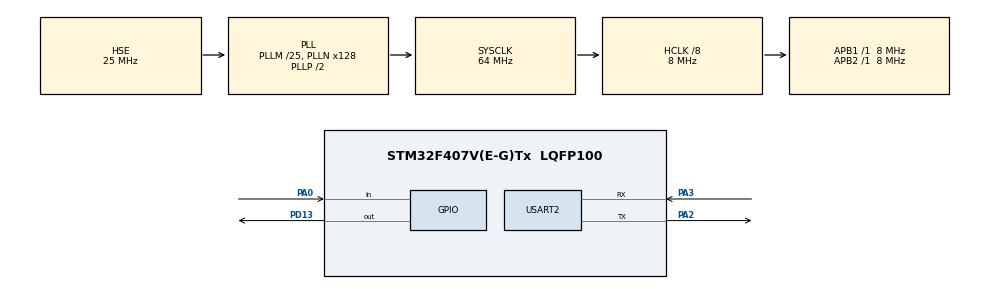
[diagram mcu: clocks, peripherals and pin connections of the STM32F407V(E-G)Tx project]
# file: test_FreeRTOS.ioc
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Mcu.Family=STM32F4
Mcu.Name=STM32F407V(E-G)Tx
Mcu.Package=LQFP100
NVIC.PriorityGroup=NVIC_PRIORITYGROUP_4
NVIC.USART2_IRQn=true\:0\:0\:false\:false\:true\:true\:true\:true
PA0-WKUP.Signal=GPIO_Input
PA13.Mode=Serial_Wire
PA13.Signal=SYS_JTMS-SWDIO
PA14.Mode=Serial_Wire
PA14.Signal=SYS_JTCK-SWCLK
PA2.Mode=Asynchronous
PA2.Signal=USART2_TX
PA3.Mode=Asynchronous
PA3.Signal=USART2_RX
PD13.Signal=GPIO_Output
PH0-OSC_IN.Mode=HSE-External-Oscillator
PH0-OSC_IN.Signal=RCC_OSC_IN
PH1-OSC_OUT.Mode=HSE-External-Oscillator
PH1-OSC_OUT.Signal=RCC_OSC_OUT
ProjectManager.HeapSize=0x200
ProjectManager.StackSize=0x400
ProjectManager.TargetToolchain=STM32CubeIDE
RCC.48MHZClocksFreq_Value=32000000
RCC.AHBCLKDivider=RCC_SYSCLK_DIV8
RCC.AHBFreq_Value=8000000
RCC.APB1Freq_Value=8000000
RCC.APB1TimFreq_Value=8000000
RCC.APB2Freq_Value=8000000
RCC.APB2TimFreq_Value=8000000
RCC.CortexFreq_Value=8000000
RCC.HCLKFreq_Value=8000000
RCC.HSE_VALUE=25000000
RCC.HSI_VALUE=16000000
RCC.LSE_VALUE=32768
RCC.PLLM=25
RCC.PLLN=128
RCC.PLLSourceVirtual=RCC_PLLSOURCE_HSE
RCC.SYSCLKFreq_VALUE=64000000
RCC.SYSCLKSource=RCC_SYSCLKSOURCE_PLLCLK
RCC.VCOOutputFreq_Value=128000000
USART2.VirtualMode=VM_ASYNC
board=custom

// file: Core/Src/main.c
/* USER CODE BEGIN Header */
/**
  ******************************************************************************
  * @file           : main.c
  * @brief          : Main program body
  ******************************************************************************
  * @attention
  *
  * Copyright (c) 2024 STMicroelectronics.
  * All rights reserved.
  *
  * This software is licensed under terms that can be found in the LICENSE file
  * in the root directory of this software component.
  * If no LICENSE file comes with this software, it is provided AS-IS.
  *
  ******************************************************************************
  */
/* USER CODE END Header */
#include "main.h"

/* USER CODE BEGIN Includes */
#include <stdbool.h>
#include "FreeRTOS.h"
#include "task.h"
#include "uartstdio.h"
#include "queue.h"
#include "string.h"
/* USER CODE END Includes */

/* USER CODE BEGIN PM */

char rxBuffer[15];
int led_state=0;
/* USER CODE END PM */

UART_HandleTypeDef huart2;

/* USER CODE BEGIN PV */
TaskHandle_t   led_task_Handle = NULL;
TaskHandle_t   myTask2Handle = NULL;
TaskHandle_t   ButtonHandle = NULL;

QueueHandle_t  myQueue;

/* USER CODE END PV */

void SystemClock_Config(void);
static void MX_GPIO_Init(void);
static void MX_USART2_UART_Init(void);
/* USER CODE BEGIN PFP */
void Status_Led_Task(void *p){

	while(1) {
	     if (xQueueReceive(myQueue, &led_state, 5) == pdPASS) {
	    	 if(led_state == 1) {
	    		 HAL_GPIO_WritePin(GPIOD, GPIO_PIN_13, 1);
	    	 }
	    	 else if (led_state == 0) {
	    		 HAL_GPIO_WritePin(GPIOD, GPIO_PIN_13, 0);
	    	 }
	    	 else if (led_state == 2) {
	    		 HAL_GPIO_TogglePin(GPIOD, GPIO_PIN_13);
	    	 }
	     }
	      vTaskDelay(100);
}
}
void Interface_Task(void *p){

	int index = 0;
	while(1){
        if (HAL_UART_Receive(&huart2, (uint8_t*)&rxBuffer[index], 1, (TickType_t)0) == HAL_OK) {

        		if (strncmp(rxBuffer, "ON\\CR\\LF",10) == 0) {
                    uint8_t led_command = 1;
                    xQueueSend(myQueue, &led_command, (TickType_t)0);
	                index = 0;
	                clearBuff(rxBuffer,15);
                }
                else if (strncmp(rxBuffer, "OFF\\CR\\LF",11) == 0) {
                    uint8_t led_command = 0;
                    xQueueSend(myQueue, &led_command, (TickType_t)0);
	                index = 0;
	                clearBuff(rxBuffer,15);
                }
                else if (strncmp(rxBuffer, "TOGGLE\\CR\\LF",14) == 0) {
                    uint8_t led_command = 2;
                    xQueueSend(myQueue, &led_command, (TickType_t)0);
	                index = 0;
	                clearBuff(rxBuffer,15);
                }
                else  index++;
        }

    }
vTaskDelay(100);
}

void Button_Task(void *p){
	while(1){
		  if(HAL_GPIO_ReadPin(GPIOA, GPIO_PIN_0) == 1){
			  led_state = 2;
			  xQueueSend(myQueue, &led_state,(TickType_t)0);
			  vTaskDelay(100);;
			  while(HAL_GPIO_ReadPin(GPIOA, GPIO_PIN_0) == 1);
		  }
		  vTaskDelay(1);
	  }
}
void clearBuff(char* buff, int len){
	for(int i = 0; i < len ; i++){
		*buff = '\0';
		buff++;
	}
}

/* USER CODE END PFP */

int main(void)
{

  /* MCU Configuration--------------------------------------------------------*/

  /* Reset of all peripherals, Initializes the Flash interface and the Systick. */
  HAL_Init();

  /* Configure the system clock */
  SystemClock_Config();

  /* Initialize all configured peripherals */
  MX_GPIO_Init();
  MX_USART2_UART_Init();
  /* USER CODE BEGIN 2 */
  myQueue = xQueueCreate(5, sizeof(char));
  xTaskCreate(Status_Led_Task, "statusLEDTask",configMINIMAL_STACK_SIZE, NULL, 1, &led_task_Handle);
  xTaskCreate(Interface_Task, "uart2Task",configMINIMAL_STACK_SIZE, NULL, 1, &myTask2Handle);
  xTaskCreate(Button_Task, "buttonTask",configMINIMAL_STACK_SIZE, NULL, 1, &ButtonHandle);
  /* USER CODE END 2 */

  /* Infinite loop */
  /* USER CODE BEGIN WHILE */
  vTaskStartScheduler();
  while (1)
  {
    /* USER CODE END WHILE */

  }
}

void SystemClock_Config(void)
{
  RCC_OscInitTypeDef RCC_OscInitStruct = {0};
  RCC_ClkInitTypeDef RCC_ClkInitStruct = {0};

  /** Configure the main internal regulator output voltage
  */
  __HAL_RCC_PWR_CLK_ENABLE();
  __HAL_PWR_VOLTAGESCALING_CONFIG(PWR_REGULATOR_VOLTAGE_SCALE1);

  /** Initializes the RCC Oscillators according to the specified parameters
  * in the RCC_OscInitTypeDef structure.
  */
  RCC_OscInitStruct.OscillatorType = RCC_OSCILLATORTYPE_HSE;
  RCC_OscInitStruct.HSEState = RCC_HSE_ON;
  RCC_OscInitStruct.PLL.PLLState = RCC_PLL_ON;
  RCC_OscInitStruct.PLL.PLLSource = RCC_PLLSOURCE_HSE;
  RCC_OscInitStruct.PLL.PLLM = 25;
  RCC_OscInitStruct.PLL.PLLN = 128;
  RCC_OscInitStruct.PLL.PLLP = RCC_PLLP_DIV2;
  RCC_OscInitStruct.PLL.PLLQ = 4;
  if (HAL_RCC_OscConfig(&RCC_OscInitStruct) != HAL_OK)
  {
    Error_Handler();
  }

  /** Initializes the CPU, AHB and APB buses clocks
  */
  RCC_ClkInitStruct.ClockType = RCC_CLOCKTYPE_HCLK|RCC_CLOCKTYPE_SYSCLK
                              |RCC_CLOCKTYPE_PCLK1|RCC_CLOCKTYPE_PCLK2;
  RCC_ClkInitStruct.SYSCLKSource = RCC_SYSCLKSOURCE_PLLCLK;
  RCC_ClkInitStruct.AHBCLKDivider = RCC_SYSCLK_DIV8;
  RCC_ClkInitStruct.APB1CLKDivider = RCC_HCLK_DIV1;
  RCC_ClkInitStruct.APB2CLKDivider = RCC_HCLK_DIV1;

  if (HAL_RCC_ClockConfig(&RCC_ClkInitStruct, FLASH_LATENCY_0) != HAL_OK)
  {
    Error_Handler();
  }
}

static void MX_USART2_UART_Init(void)
{

  huart2.Instance = USART2;
  huart2.Init.BaudRate = 115200;
  huart2.Init.WordLength = UART_WORDLENGTH_8B;
  huart2.Init.StopBits = UART_STOPBITS_1;
  huart2.Init.Parity = UART_PARITY_NONE;
  huart2.Init.Mode = UART_MODE_TX_RX;
  huart2.Init.HwFlowCtl = UART_HWCONTROL_NONE;
  huart2.Init.OverSampling = UART_OVERSAMPLING_16;
  if (HAL_UART_Init(&huart2) != HAL_OK)
  {
    Error_Handler();
  }

}

static void MX_GPIO_Init(void)
{
  GPIO_InitTypeDef GPIO_InitStruct = {0};

  /* GPIO Ports Clock Enable */
  __HAL_RCC_GPIOH_CLK_ENABLE();
  __HAL_RCC_GPIOA_CLK_ENABLE();
  __HAL_RCC_GPIOD_CLK_ENABLE();

  /*Configure GPIO pin Output Level */
  HAL_GPIO_WritePin(GPIOD, GPIO_PIN_13, GPIO_PIN_RESET);

  /*Configure GPIO pin : PA0 */
  GPIO_InitStruct.Pin = GPIO_PIN_0;
  GPIO_InitStruct.Mode = GPIO_MODE_INPUT;
  GPIO_InitStruct.Pull = GPIO_NOPULL;
  HAL_GPIO_Init(GPIOA, &GPIO_InitStruct);

  /*Configure GPIO pin : PD13 */
  GPIO_InitStruct.Pin = GPIO_PIN_13;
  GPIO_InitStruct.Mode = GPIO_MODE_OUTPUT_PP;
  GPIO_InitStruct.Pull = GPIO_NOPULL;
  GPIO_InitStruct.Speed = GPIO_SPEED_FREQ_LOW;
  HAL_GPIO_Init(GPIOD, &GPIO_InitStruct);

}

void Error_Handler(void)
{
  __disable_irq();
  while (1)
  {
  }
}
